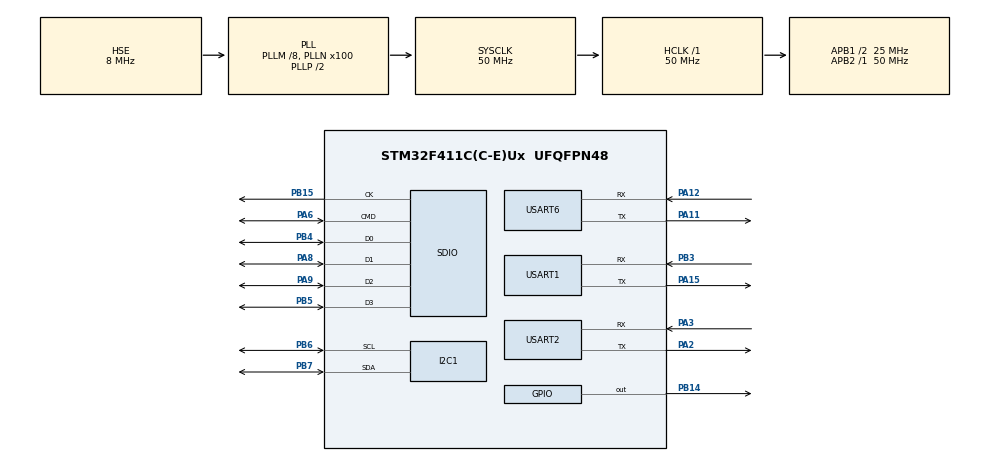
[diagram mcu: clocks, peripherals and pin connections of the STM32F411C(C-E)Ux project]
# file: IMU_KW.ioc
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Dma.Request0=SDIO_RX
Dma.Request1=SDIO_TX
Dma.Request2=USART2_RX
Dma.SDIO_RX.0.Direction=DMA_PERIPH_TO_MEMORY
Dma.SDIO_RX.0.FIFOMode=DMA_FIFOMODE_ENABLE
Dma.SDIO_RX.0.FIFOThreshold=DMA_FIFO_THRESHOLD_FULL
Dma.SDIO_RX.0.Instance=DMA2_Stream3
Dma.SDIO_RX.0.MemBurst=DMA_MBURST_INC4
Dma.SDIO_RX.0.MemDataAlignment=DMA_MDATAALIGN_WORD
Dma.SDIO_RX.0.MemInc=DMA_MINC_ENABLE
Dma.SDIO_RX.0.Mode=DMA_PFCTRL
Dma.SDIO_RX.0.PeriphBurst=DMA_PBURST_INC4
Dma.SDIO_RX.0.PeriphDataAlignment=DMA_PDATAALIGN_WORD
Dma.SDIO_RX.0.PeriphInc=DMA_PINC_DISABLE
Dma.SDIO_RX.0.Priority=DMA_PRIORITY_LOW
Dma.SDIO_TX.1.Direction=DMA_MEMORY_TO_PERIPH
Dma.SDIO_TX.1.FIFOMode=DMA_FIFOMODE_ENABLE
Dma.SDIO_TX.1.FIFOThreshold=DMA_FIFO_THRESHOLD_FULL
Dma.SDIO_TX.1.Instance=DMA2_Stream6
Dma.SDIO_TX.1.MemBurst=DMA_MBURST_INC4
Dma.SDIO_TX.1.MemDataAlignment=DMA_MDATAALIGN_WORD
Dma.SDIO_TX.1.MemInc=DMA_MINC_ENABLE
Dma.SDIO_TX.1.Mode=DMA_PFCTRL
Dma.SDIO_TX.1.PeriphBurst=DMA_PBURST_INC4
Dma.SDIO_TX.1.PeriphDataAlignment=DMA_PDATAALIGN_WORD
Dma.SDIO_TX.1.PeriphInc=DMA_PINC_DISABLE
Dma.SDIO_TX.1.Priority=DMA_PRIORITY_LOW
Dma.USART2_RX.2.Direction=DMA_PERIPH_TO_MEMORY
Dma.USART2_RX.2.FIFOMode=DMA_FIFOMODE_DISABLE
Dma.USART2_RX.2.Instance=DMA1_Stream5
Dma.USART2_RX.2.MemDataAlignment=DMA_MDATAALIGN_BYTE
Dma.USART2_RX.2.MemInc=DMA_MINC_ENABLE
Dma.USART2_RX.2.Mode=DMA_CIRCULAR
Dma.USART2_RX.2.PeriphDataAlignment=DMA_PDATAALIGN_BYTE
Dma.USART2_RX.2.PeriphInc=DMA_PINC_DISABLE
Dma.USART2_RX.2.Priority=DMA_PRIORITY_LOW
FATFS._MAX_SS=4096
FREERTOS.Tasks01=defaultTask,0,128,StartDefaultTask,Default,NULL
FREERTOS.configTICK_RATE_HZ=1000
Mcu.Family=STM32F4
Mcu.Name=STM32F411C(C-E)Ux
Mcu.Package=UFQFPN48
NVIC.DMA1_Stream5_IRQn=true\:0\:0\:false\:false\:true\:true\:false\:true
NVIC.DMA2_Stream3_IRQn=true\:0\:0\:false\:false\:true\:true\:false\:true
NVIC.DMA2_Stream6_IRQn=true\:0\:0\:false\:false\:true\:true\:false\:true
NVIC.PriorityGroup=NVIC_PRIORITYGROUP_4
NVIC.SDIO_IRQn=true\:0\:0\:false\:false\:true\:true\:true\:true
NVIC.TIM4_IRQn=true\:0\:0\:false\:false\:true\:true\:true\:true
NVIC.TIM5_IRQn=true\:0\:0\:false\:false\:true\:false\:false\:true
NVIC.TimeBase=TIM5_IRQn
NVIC.TimeBaseIP=TIM5
NVIC.USART1_IRQn=true\:0\:0\:false\:false\:true\:true\:true\:true
NVIC.USART2_IRQn=true\:0\:0\:false\:false\:true\:true\:true\:true
PA11.Mode=Asynchronous
PA11.Signal=USART6_TX
PA12.Mode=Asynchronous
PA12.Signal=USART6_RX
PA13.Signal=SYS_JTMS-SWDIO
PA14.Signal=SYS_JTCK-SWCLK
PA15.Mode=Asynchronous
PA15.Signal=USART1_TX
PA2.Mode=Asynchronous
PA2.Signal=USART2_TX
PA3.Mode=Asynchronous
PA3.Signal=USART2_RX
PA6.GPIO_PuPd=GPIO_PULLUP
PA6.Mode=SD_4_bits_Wide_bus
PA6.Signal=SDIO_CMD
PA8.GPIO_PuPd=GPIO_PULLUP
PA8.Mode=SD_4_bits_Wide_bus
PA8.Signal=SDIO_D1
PA9.GPIO_PuPd=GPIO_PULLUP
PA9.Mode=SD_4_bits_Wide_bus
PA9.Signal=SDIO_D2
PB14.Signal=GPIO_Output
PB15.Mode=SD_4_bits_Wide_bus
PB15.Signal=SDIO_CK
PB3.Mode=Asynchronous
PB3.Signal=USART1_RX
PB4.GPIO_PuPd=GPIO_PULLUP
PB4.Mode=SD_4_bits_Wide_bus
PB4.Signal=SDIO_D0
PB5.GPIO_PuPd=GPIO_PULLUP
PB5.Mode=SD_4_bits_Wide_bus
PB5.Signal=SDIO_D3
PB6.Mode=I2C
PB6.Signal=I2C1_SCL
PB7.Mode=I2C
PB7.Signal=I2C1_SDA
PH0\ -\ OSC_IN.Mode=HSE-External-Oscillator
PH0\ -\ OSC_IN.Signal=RCC_OSC_IN
PH1\ -\ OSC_OUT.Mode=HSE-External-Oscillator
PH1\ -\ OSC_OUT.Signal=RCC_OSC_OUT
ProjectManager.HeapSize=0x2000
ProjectManager.StackSize=0x4000
ProjectManager.TargetToolchain=MDK-ARM V5
RCC.48MHZClocksFreq_Value=20000000
RCC.AHBFreq_Value=50000000
RCC.APB1CLKDivider=RCC_HCLK_DIV2
RCC.APB1Freq_Value=25000000
RCC.APB1TimFreq_Value=50000000
RCC.APB2Freq_Value=50000000
RCC.APB2TimFreq_Value=50000000
RCC.CortexFreq_Value=50000000
RCC.HCLKFreq_Value=50000000
RCC.HSE_VALUE=8000000
RCC.HSI_VALUE=16000000
RCC.LSE_VALUE=32768
RCC.PLLM=8
RCC.PLLN=100
RCC.PLLQ=5
RCC.PLLSourceVirtual=RCC_PLLSOURCE_HSE
RCC.SYSCLKFreq_VALUE=50000000
RCC.SYSCLKSource=RCC_SYSCLKSOURCE_PLLCLK
RCC.VCOOutputFreq_Value=100000000
SDIO.ClockDiv=3
TIM4.Period=10-1
TIM4.Prescaler=5000-1
TIM4.TIM_MasterOutputTrigger=TIM_TRGO_RESET
USART1.VirtualMode=VM_ASYNC
USART2.VirtualMode=VM_ASYNC
USART6.VirtualMode=VM_ASYNC
VP_CRC_VS_CRC.Mode=CRC_Activate
VP_FATFS_VS_SDIO.Mode=SDIO
VP_FREERTOS_VS_CMSIS_V1.Mode=CMSIS_V1
VP_SYS_VS_tim5.Mode=TIM5
VP_TIM4_VS_ClockSourceINT.Mode=Internal
board=custom

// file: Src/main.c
/* USER CODE BEGIN Header */
/**
  ******************************************************************************
  * @file           : main.c
  * @brief          : Main program body
  ******************************************************************************
  * @attention
  *
  * <h2><center>&copy; Copyright (c) 2020 STMicroelectronics.
  * All rights reserved.</center></h2>
  *
  * This software component is licensed by ST under Ultimate Liberty license
  * SLA0044, the "License"; You may not use this file except in compliance with
  * the License. You may obtain a copy of the License at:
  *                             www.st.com/SLA0044
  *
  ******************************************************************************
  */
/* USER CODE END Header */
#include "main.h"
#include "cmsis_os.h"
#include "fatfs.h"

/* USER CODE BEGIN Includes */
#include <stdio.h>
#include <string.h>
#include <stdbool.h>
/* USER CODE END Includes */

/* USER CODE BEGIN PD */
//define : MPU9250
#define MPU9250_ADDRESS	 0xD2
#define AK8963_ADDRESS   0x0C<<1
#define AK8963_ST1       0x02  // data ready status bit 0
#define AK8963_XOUT_L    0x03  // data
#define ACCEL_XOUT_H     0x3B
#define GYRO_XOUT_H      0x43
#define AK8963_CNTL      0x0A  // Power down (0000), single-measurement (0001), self-test (1000) and Fuse ROM (1111) modes on bits 3:0
#define ACCEL_CONFIG     0x1C
#define CONFIG           0x1A
#define INT_PIN_CFG      0x37
#define INT_ENABLE       0x38
#define ACCEL_CONFIG2    0x1D
#define GYRO_CONFIG      0x1B
#define SMPLRT_DIV       0x19
#define PWR_MGMT_1       0x6B // Device defaults to the SLEEP mode
#define PWR_MGMT_2       0x6C
#define AK8963_ASAX      0x10  // Fuse ROM x-axis sensitivity adjustment value
enum Ascale {
  AFS_2G = 0,
  AFS_4G,
  AFS_8G,
  AFS_16G
};
enum Gscale {
  GFS_250DPS = 0,
  GFS_500DPS,
  GFS_1000DPS,
  GFS_2000DPS
};

enum Mscale {
  MFS_14BITS = 0, // 0.6 mG per LSB
  MFS_16BITS      // 0.15 mG per LSB
};

uint8_t Ascale = AFS_2G;     // AFS_2G, AFS_4G, AFS_8G, AFS_16G
uint8_t Gscale = GFS_250DPS; // GFS_250DPS, GFS_500DPS, GFS_1000DPS, GFS_2000DPS
uint8_t Mscale = MFS_16BITS; // MFS_14BITS or MFS_16BITS, 14-bit or 16-bit magnetometer resolution
uint8_t Mmode = 0x06;        // Either 8 Hz 0x02) or 100 Hz (0x06) magnetometer data ODR
float aRes, gRes, mRes;      // scale resolutions per LSB for the sensors

/* USER CODE END PD */

CRC_HandleTypeDef hcrc;

I2C_HandleTypeDef hi2c1;

SD_HandleTypeDef hsd;
DMA_HandleTypeDef hdma_sdio_rx;
DMA_HandleTypeDef hdma_sdio_tx;

TIM_HandleTypeDef htim4;

UART_HandleTypeDef huart1;
UART_HandleTypeDef huart2;
UART_HandleTypeDef huart6;
DMA_HandleTypeDef hdma_usart2_rx;

osThreadId defaultTaskHandle;

void SystemClock_Config(void);
static void MX_GPIO_Init(void);
static void MX_DMA_Init(void);
static void MX_USART1_UART_Init(void);
static void MX_USART2_UART_Init(void);
static void MX_SDIO_SD_Init(void);
static void MX_TIM4_Init(void);
static void MX_USART6_UART_Init(void);
static void MX_CRC_Init(void);
static void MX_I2C1_Init(void);
void StartDefaultTask(void const * argument);

/* USER CODE BEGIN 0 */
	void initMPU9250(void);
	void initAK8963(void);
	// watchdog
	uint8_t wdg_cnt = 0;
	// I2C and IMU
	int8_t acc_[6] = {0,};
	int8_t gy_[6] = {0,};
	int8_t mag_[6] = {0,};;

	//recieved data
	uint16_t receive_val;
	uint16_t cal_val;

	// Communication
	bool received_flag = false;
	uint8_t txdata[70]; // transmit data to pc
	uint8_t rxBuf[50];
	uint8_t rxBuf_[50];
	uint8_t rxBuf_crc[50];
	uint8_t rxBuf_sd[9];

	uint8_t i2cBuf[7];
	uint8_t Imu_dataBuf[18] = {0,};\
	uint8_t buff_index = 0;

	bool data_received_dma = true;

	//crc
	uint32_t crcArray[12] = {0,};
	uint32_t crcArray_send[16] = {0,};
	uint16_t crcval = 0;

	//SD card variables
	extern char SDPath[4];   /* SD logical drive path */
	extern FATFS SDFatFS;    /* File system object for SD logical drive */
	extern FIL SDFile;       /* File object for SD */

	bool sdcard_save = false;
	bool sdcard_save_check = true;
	bool sdcard_save_ongoing = false;
	//FILE I/O operation

	FRESULT res;                                          /* FatFs function common result code */
	uint32_t byteswritten, bytesread;                     /* File write/read counts */
	uint8_t wtext[] = "Hello from kyeum!"; 			      /* File write start buffer */
	uint8_t rtext[100];                                   /* File read buffer */

	FATFS myFATAS;
	FIL myFILE;
	UINT testByte; 										  // error detection

	//data save
	bool datasave_flg = false;

	//Timer
	uint16_t ms_tmr = 0;
	uint16_t _10ms_tmr = 0;
	uint16_t send_10ms_tmr = 0;

	uint16_t ms_sv_tmr = 0;
	bool _100ms_flg = false;
	bool _10ms_flg = false;
	bool dma_connect = false;

	uint16_t test_val = 0;
	char str_testset[10];

/* USER CODE END 0 */

int main(void)
{

  /* MCU Configuration--------------------------------------------------------*/

  /* Reset of all peripherals, Initializes the Flash interface and the Systick. */
  HAL_Init();

  /* Configure the system clock */
  SystemClock_Config();

  /* Initialize all configured peripherals */
  MX_GPIO_Init();
  MX_DMA_Init();
  MX_USART1_UART_Init();
  MX_USART2_UART_Init();
  MX_SDIO_SD_Init();
  MX_TIM4_Init();
  MX_USART6_UART_Init();
  MX_FATFS_Init();
  MX_CRC_Init();
  MX_I2C1_Init();
  /* USER CODE BEGIN 2 */
	HAL_UART_Receive_DMA(&huart2, (uint8_t *)rxBuf_crc, 50); //interrupt mode only in the mcu data
	HAL_UART_Receive_IT(&huart1, (uint8_t *)rxBuf_sd, 9);
	HAL_TIM_Base_Start_IT(&htim4);

	initMPU9250();
	initAK8963();

  /* USER CODE END 2 */

  /* Create the thread(s) */
  /* definition and creation of defaultTask */
  osThreadDef(defaultTask, StartDefaultTask, osPriorityNormal, 0, 128);
  defaultTaskHandle = osThreadCreate(osThread(defaultTask), NULL);

  /* Start scheduler */
  osKernelStart();

  /* We should never get here as control is now taken by the scheduler */
  /* Infinite loop */
  while (1)
  {

  }
}

void SystemClock_Config(void)
{
  RCC_OscInitTypeDef RCC_OscInitStruct = {0};
  RCC_ClkInitTypeDef RCC_ClkInitStruct = {0};

  /** Configure the main internal regulator output voltage
  */
  __HAL_RCC_PWR_CLK_ENABLE();
  __HAL_PWR_VOLTAGESCALING_CONFIG(PWR_REGULATOR_VOLTAGE_SCALE1);
  /** Initializes the RCC Oscillators according to the specified parameters
  * in the RCC_OscInitTypeDef structure.
  */
  RCC_OscInitStruct.OscillatorType = RCC_OSCILLATORTYPE_HSE;
  RCC_OscInitStruct.HSEState = RCC_HSE_ON;
  RCC_OscInitStruct.PLL.PLLState = RCC_PLL_ON;
  RCC_OscInitStruct.PLL.PLLSource = RCC_PLLSOURCE_HSE;
  RCC_OscInitStruct.PLL.PLLM = 8;
  RCC_OscInitStruct.PLL.PLLN = 100;
  RCC_OscInitStruct.PLL.PLLP = RCC_PLLP_DIV2;
  RCC_OscInitStruct.PLL.PLLQ = 5;
  if (HAL_RCC_OscConfig(&RCC_OscInitStruct) != HAL_OK)
  {
    Error_Handler();
  }
  /** Initializes the CPU, AHB and APB buses clocks
  */
  RCC_ClkInitStruct.ClockType = RCC_CLOCKTYPE_HCLK|RCC_CLOCKTYPE_SYSCLK
                              |RCC_CLOCKTYPE_PCLK1|RCC_CLOCKTYPE_PCLK2;
  RCC_ClkInitStruct.SYSCLKSource = RCC_SYSCLKSOURCE_PLLCLK;
  RCC_ClkInitStruct.AHBCLKDivider = RCC_SYSCLK_DIV1;
  RCC_ClkInitStruct.APB1CLKDivider = RCC_HCLK_DIV2;
  RCC_ClkInitStruct.APB2CLKDivider = RCC_HCLK_DIV1;

  if (HAL_RCC_ClockConfig(&RCC_ClkInitStruct, FLASH_LATENCY_1) != HAL_OK)
  {
    Error_Handler();
  }
}

static void MX_CRC_Init(void)
{

  hcrc.Instance = CRC;
  if (HAL_CRC_Init(&hcrc) != HAL_OK)
  {
    Error_Handler();
  }

}

static void MX_I2C1_Init(void)
{

  hi2c1.Instance = I2C1;
  hi2c1.Init.ClockSpeed = 100000;
  hi2c1.Init.DutyCycle = I2C_DUTYCYCLE_2;
  hi2c1.Init.OwnAddress1 = 0;
  hi2c1.Init.AddressingMode = I2C_ADDRESSINGMODE_7BIT;
  hi2c1.Init.DualAddressMode = I2C_DUALADDRESS_DISABLE;
  hi2c1.Init.OwnAddress2 = 0;
  hi2c1.Init.GeneralCallMode = I2C_GENERALCALL_DISABLE;
  hi2c1.Init.NoStretchMode = I2C_NOSTRETCH_DISABLE;
  if (HAL_I2C_Init(&hi2c1) != HAL_OK)
  {
    Error_Handler();
  }

}

static void MX_SDIO_SD_Init(void)
{

  hsd.Instance = SDIO;
  hsd.Init.ClockEdge = SDIO_CLOCK_EDGE_RISING;
  hsd.Init.ClockBypass = SDIO_CLOCK_BYPASS_DISABLE;
  hsd.Init.ClockPowerSave = SDIO_CLOCK_POWER_SAVE_DISABLE;
  hsd.Init.BusWide = SDIO_BUS_WIDE_1B;
  hsd.Init.HardwareFlowControl = SDIO_HARDWARE_FLOW_CONTROL_DISABLE;
  hsd.Init.ClockDiv = 3;

}

static void MX_TIM4_Init(void)
{

  TIM_ClockConfigTypeDef sClockSourceConfig = {0};
  TIM_MasterConfigTypeDef sMasterConfig = {0};

  htim4.Instance = TIM4;
  htim4.Init.Prescaler = 5000-1;
  htim4.Init.CounterMode = TIM_COUNTERMODE_UP;
  htim4.Init.Period = 10-1;
  htim4.Init.ClockDivision = TIM_CLOCKDIVISION_DIV1;
  htim4.Init.AutoReloadPreload = TIM_AUTORELOAD_PRELOAD_DISABLE;
  if (HAL_TIM_Base_Init(&htim4) != HAL_OK)
  {
    Error_Handler();
  }
  sClockSourceConfig.ClockSource = TIM_CLOCKSOURCE_INTERNAL;
  if (HAL_TIM_ConfigClockSource(&htim4, &sClockSourceConfig) != HAL_OK)
  {
    Error_Handler();
  }
  sMasterConfig.MasterOutputTrigger = TIM_TRGO_RESET;
  sMasterConfig.MasterSlaveMode = TIM_MASTERSLAVEMODE_DISABLE;
  if (HAL_TIMEx_MasterConfigSynchronization(&htim4, &sMasterConfig) != HAL_OK)
  {
    Error_Handler();
  }

}

static void MX_USART1_UART_Init(void)
{

  huart1.Instance = USART1;
  huart1.Init.BaudRate = 115200;
  huart1.Init.WordLength = UART_WORDLENGTH_8B;
  huart1.Init.StopBits = UART_STOPBITS_1;
  huart1.Init.Parity = UART_PARITY_NONE;
  huart1.Init.Mode = UART_MODE_TX_RX;
  huart1.Init.HwFlowCtl = UART_HWCONTROL_NONE;
  huart1.Init.OverSampling = UART_OVERSAMPLING_16;
  if (HAL_UART_Init(&huart1) != HAL_OK)
  {
    Error_Handler();
  }

}

static void MX_USART2_UART_Init(void)
{

  huart2.Instance = USART2;
  huart2.Init.BaudRate = 115200;
  huart2.Init.WordLength = UART_WORDLENGTH_8B;
  huart2.Init.StopBits = UART_STOPBITS_1;
  huart2.Init.Parity = UART_PARITY_NONE;
  huart2.Init.Mode = UART_MODE_TX_RX;
  huart2.Init.HwFlowCtl = UART_HWCONTROL_NONE;
  huart2.Init.OverSampling = UART_OVERSAMPLING_16;
  if (HAL_UART_Init(&huart2) != HAL_OK)
  {
    Error_Handler();
  }

}

static void MX_USART6_UART_Init(void)
{

  huart6.Instance = USART6;
  huart6.Init.BaudRate = 115200;
  huart6.Init.WordLength = UART_WORDLENGTH_8B;
  huart6.Init.StopBits = UART_STOPBITS_1;
  huart6.Init.Parity = UART_PARITY_NONE;
  huart6.Init.Mode = UART_MODE_TX_RX;
  huart6.Init.HwFlowCtl = UART_HWCONTROL_NONE;
  huart6.Init.OverSampling = UART_OVERSAMPLING_16;
  if (HAL_UART_Init(&huart6) != HAL_OK)
  {
    Error_Handler();
  }

}

static void MX_DMA_Init(void)
{

  /* DMA controller clock enable */
  __HAL_RCC_DMA2_CLK_ENABLE();
  __HAL_RCC_DMA1_CLK_ENABLE();

  /* DMA interrupt init */
  /* DMA1_Stream5_IRQn interrupt configuration */
  HAL_NVIC_SetPriority(DMA1_Stream5_IRQn, 0, 0);
  HAL_NVIC_EnableIRQ(DMA1_Stream5_IRQn);
  /* DMA2_Stream3_IRQn interrupt configuration */
  HAL_NVIC_SetPriority(DMA2_Stream3_IRQn, 0, 0);
  HAL_NVIC_EnableIRQ(DMA2_Stream3_IRQn);
  /* DMA2_Stream6_IRQn interrupt configuration */
  HAL_NVIC_SetPriority(DMA2_Stream6_IRQn, 0, 0);
  HAL_NVIC_EnableIRQ(DMA2_Stream6_IRQn);

}

static void MX_GPIO_Init(void)
{
  GPIO_InitTypeDef GPIO_InitStruct = {0};

  /* GPIO Ports Clock Enable */
  __HAL_RCC_GPIOH_CLK_ENABLE();
  __HAL_RCC_GPIOA_CLK_ENABLE();
  __HAL_RCC_GPIOB_CLK_ENABLE();

  /*Configure GPIO pin Output Level */
  HAL_GPIO_WritePin(GPIOB, GPIO_PIN_14, GPIO_PIN_RESET);

  /*Configure GPIO pin : PB14 */
  GPIO_InitStruct.Pin = GPIO_PIN_14;
  GPIO_InitStruct.Mode = GPIO_MODE_OUTPUT_PP;
  GPIO_InitStruct.Pull = GPIO_NOPULL;
  GPIO_InitStruct.Speed = GPIO_SPEED_FREQ_LOW;
  HAL_GPIO_Init(GPIOB, &GPIO_InitStruct);

}

/* USER CODE BEGIN 4 */

void writeByte(uint8_t address, uint8_t subAddress, uint8_t data)
{
   uint8_t data_write[2];
   data_write[0] = subAddress;
   data_write[1] = data;
   HAL_I2C_Master_Transmit(&hi2c1, address, data_write, 2, 10);
}
char readByte(uint8_t address, uint8_t subAddress)
{
    uint8_t data[1]; // `data` will store the register data
    uint8_t data_write[1];
    data_write[0] = subAddress;
	HAL_I2C_Master_Transmit(&hi2c1, address, data_write, 1, 10);
	HAL_I2C_Master_Receive(&hi2c1, address, data, 1, 10); // Data receive sequencing from i2cBuf[1]
    return data[0];
}
void readBytes(uint8_t address, uint8_t subAddress, uint8_t count, uint8_t * dest)
{
    uint8_t data[14];
    uint8_t data_write[1];
    data_write[0] = subAddress;
	HAL_I2C_Master_Transmit(&hi2c1, address, data_write, 1, 10);
	HAL_I2C_Master_Receive(&hi2c1, address, data, count, 10); // Data receive sequencing from i2cBuf[1]
    for(int ii = 0; ii < count; ii++) {
     dest[ii] = data[ii];
    }
}

void readAccelData(int8_t * destination)
{
  uint8_t rawData[6];  // x/y/z accel register data stored here
  uint8_t data_write[1];
  data_write[0] = ACCEL_XOUT_H;
  HAL_I2C_Master_Transmit(&hi2c1, MPU9250_ADDRESS, data_write, 1,10);
  HAL_I2C_Master_Receive(&hi2c1, MPU9250_ADDRESS, rawData, 6, 10); // Data receive sequencing from i2cBuf[1]

  memcpy(&destination[0], &rawData[0],6);
}

void readGyroData(int8_t * destination)
{

  uint8_t rawData[6];  // x/y/z accel register data stored here
  uint8_t data_write[1];
  data_write[0] = GYRO_XOUT_H;
  HAL_I2C_Master_Transmit(&hi2c1, MPU9250_ADDRESS, data_write, 1,10);
  HAL_I2C_Master_Receive(&hi2c1, MPU9250_ADDRESS, rawData, 6, 10); // Data receive sequencing from i2cBuf[1]
  memcpy(&destination[0], &rawData[0],6);

}

void  readMagData(int8_t * destination)
{
  uint8_t rawData[7];  // x/y/z gyro register data, ST2 register stored here, must read ST2 at end of data acquisition
  if(readByte(AK8963_ADDRESS, AK8963_ST1) & 0x01) { // wait for magnetometer data ready bit to be set
	 uint8_t data_write[1];
	data_write[0] = AK8963_XOUT_L;
	HAL_I2C_Master_Transmit(&hi2c1, AK8963_ADDRESS, data_write, 1,10);
	HAL_I2C_Master_Receive(&hi2c1, AK8963_ADDRESS, rawData, 7, 10); // Data receive sequencing from i2cBuf[1]
	uint8_t c = rawData[6]; // End data read by reading ST2 register
    if(!(c & 0x08)) { // Check if magnetic sensor overflow set, if not then report data
		memcpy(&destination[0], &rawData[0],6);
   }
  }
}

 void initAK8963()
{
  // First extract the factory calibration for each magnetometer axis
  uint8_t rawData[3];  // x/y/z gyro calibration data stored here
  writeByte(AK8963_ADDRESS, AK8963_CNTL, 0x00); // Power down magnetometer
  HAL_Delay(100);
  writeByte(AK8963_ADDRESS, AK8963_CNTL, 0x0F); // Enter Fuse ROM access mode
  HAL_Delay(100);
//  readBytes(AK8963_ADDRESS, AK8963_ASAX, 3, &rawData[0]);  // Read the x-, y-, and z-axis calibration values
//  destination[0] =  (float)(rawData[0] - 128)/256.0f + 1.0f;   // Return x-axis sensitivity adjustment values, etc.
//  destination[1] =  (float)(rawData[1] - 128)/256.0f + 1.0f;
//  destination[2] =  (float)(rawData[2] - 128)/256.0f + 1.0f;
  writeByte(AK8963_ADDRESS, AK8963_CNTL, 0x00); // Power down magnetometer
  HAL_Delay(100);
  // Configure the magnetometer for continuous read and highest resolution
  // set Mscale bit 4 to 1 (0) to enable 16 (14) bit resolution in CNTL register,
  // and enable continuous mode data acquisition Mmode (bits [3:0]), 0010 for 8 Hz and 0110 for 100 Hz sample rates
  writeByte(AK8963_ADDRESS, AK8963_CNTL, Mscale << 4 | Mmode); // Set magnetometer data resolution and sample ODR
  HAL_Delay(100);
}

void initMPU9250()
{
// Initialize MPU9250 device
 // wake up device
  writeByte(MPU9250_ADDRESS, PWR_MGMT_1, 0x00); // Clear sleep mode bit (6), enable all sensors
  HAL_Delay(100); // Delay 100 ms for PLL to get established on x-axis gyro; should check for PLL ready interrupt

 // get stable time source
  writeByte(MPU9250_ADDRESS, PWR_MGMT_1, 0x01);  // Set clock source to be PLL with x-axis gyroscope reference, bits 2:0 = 001
  HAL_Delay(100); // Delay 100 ms for PLL to get established on x-axis gyro; should check for PLL ready interrupt

 // Configure Gyro and Accelerometer
 // Disable FSYNC and set accelerometer and gyro bandwidth to 44 and 42 Hz, respectively;
 // DLPF_CFG = bits 2:0 = 010; this sets the sample rate at 1 kHz for both
 // Maximum delay is 4.9 ms which is just over a 200 Hz maximum rate
  writeByte(MPU9250_ADDRESS, CONFIG, 0x03);
   HAL_Delay(100); // Delay 100 ms for PLL to get established on x-axis gyro; should check for PLL ready interrupt

 // Set sample rate = gyroscope output rate/(1 + SMPLRT_DIV)
  writeByte(MPU9250_ADDRESS, SMPLRT_DIV, 0x04);  // Use a 200 Hz rate; the same rate set in CONFIG above
   HAL_Delay(100); // Delay 100 ms for PLL to get established on x-axis gyro; should check for PLL ready interrupt

 // Set gyroscope full scale range
 // Range selects FS_SEL and AFS_SEL are 0 - 3, so 2-bit values are left-shifted into positions 4:3
  uint8_t c = readByte(MPU9250_ADDRESS, GYRO_CONFIG); // get current GYRO_CONFIG register value
    HAL_Delay(100); // Delay 100 ms for PLL to get established on x-axis gyro; should check for PLL ready interrupt

 // c = c & ~0xE0; // Clear self-test bits [7:5]
  c = c & ~0x02; // Clear Fchoice bits [1:0]
  c = c & ~0x18; // Clear AFS bits [4:3]
  c = c | Gscale << 3; // Set full scale range for the gyro
 // c =| 0x00; // Set Fchoice for the gyro to 11 by writing its inverse to bits 1:0 of GYRO_CONFIG
  writeByte(MPU9250_ADDRESS, GYRO_CONFIG, c ); // Write new GYRO_CONFIG value to register
    HAL_Delay(100); // Delay 100 ms for PLL to get established on x-axis gyro; should check for PLL ready interrupt

 // Set accelerometer full-scale range configuration
  c = readByte(MPU9250_ADDRESS, ACCEL_CONFIG); // get current ACCEL_CONFIG register value
 // c = c & ~0xE0; // Clear self-test bits [7:5]
  c = c & ~0x18;  // Clear AFS bits [4:3]
  c = c | Ascale << 3; // Set full scale range for the accelerometer
    HAL_Delay(100); // Delay 100 ms for PLL to get established on x-axis gyro; should check for PLL ready interrupt

  writeByte(MPU9250_ADDRESS, ACCEL_CONFIG, c); // Write new ACCEL_CONFIG register value
  HAL_Delay(100); // Delay 100 ms for PLL to get established on x-axis gyro; should check for PLL ready interrupt

 // Set accelerometer sample rate configuration
 // It is possible to get a 4 kHz sample rate from the accelerometer by choosing 1 for
 // accel_fchoice_b bit [3]; in this case the bandwidth is 1.13 kHz
  c = readByte(MPU9250_ADDRESS, ACCEL_CONFIG2); // get current ACCEL_CONFIG2 register value
  c = c & ~0x0F; // Clear accel_fchoice_b (bit 3) and A_DLPFG (bits [2:0])
  c = c | 0x03;  // Set accelerometer rate to 1 kHz and bandwidth to 41 Hz
  writeByte(MPU9250_ADDRESS, ACCEL_CONFIG2, c); // Write new ACCEL_CONFIG2 register value
  HAL_Delay(100); // Delay 100 ms for PLL to get established on x-axis gyro; should check for PLL ready interrupt

 // The accelerometer, gyro, and thermometer are set to 1 kHz sample rates,
 // but all these rates are further reduced by a factor of 5 to 200 Hz because of the SMPLRT_DIV setting

  // Configure Interrupts and Bypass Enable
  // Set interrupt pin active high, push-pull, and clear on read of INT_STATUS, enable I2C_BYPASS_EN so additional chips
  // can join the I2C bus and all can be controlled as master
   writeByte(MPU9250_ADDRESS, INT_PIN_CFG, 0x22);
     HAL_Delay(100); // Delay 100 ms for PLL to get established on x-axis gyro; should check for PLL ready interrupt

   writeByte(MPU9250_ADDRESS, INT_ENABLE, 0x01);  // Enable data ready (bit 0) interrupt
     HAL_Delay(100); // Delay 100 ms for PLL to get established on x-axis gyro; should check for PLL ready interrupt
}

 void HAL_UART_RxCpltCallback(UART_HandleTypeDef *huart)
{
  /* Prevent unused argument(s) compilation warning */
  /* NOTE: This function should not be modified, when the callback is needed,
           the HAL_UART_RxCpltCallback could be implemented in the user file
   */
	// data pacing and save buff to transmit array
	if(huart->Instance == USART2){
				if(rxBuf_crc[0] == 0xFF && rxBuf_crc[1] == 0xFF){
					received_flag = true;
					dma_connect = true;
					memcpy(&rxBuf_[0], &rxBuf_crc[0], 50 );
				}
				else
				{
					received_flag = false;
					HAL_DMA_Abort(&hdma_usart2_rx);
				}
				test_val++;
	}
//	if(huart->Instance == USART1){
//		// comm data set mininig!
//		uint8_t rxBuf_sd_p[9];

//		char rxlen = sizeof(rxBuf_sd);
//		for(char i =0; i < rxlen; i++)
//		{
//			char stx = i;
//			char etx = (i + rxlen - 1)%rxlen;
//			if(rxBuf_sd[stx] == '*' && rxBuf_sd[(etx)] == ';')
//			{
//					for(char j =0; j < rxlen; j++){
//						char k = (stx + j)%rxlen;
//						rxBuf_sd_p[j] = rxBuf_sd[k]; // data parse AND SAVE CUR
//					}
//				break;
//			}
//			}

//		if(rxBuf_sd_p[0] == '*' && rxBuf_sd_p[8] ==';'){
//			if(rxBuf_sd_p[1] == 's'){
//					char _txt[] = ".txt";
//					strncpy(str_testset, (const char*)rxBuf_sd+2,6);
//					strcat(str_testset,_txt);
//				//	sdcard_save = true;
//
//					HAL_UART_Transmit_IT(&huart2,rxBuf_sd_p,9); // data send to other bluetooth!
//
//			}
//			else if(rxBuf_sd_p[1] == 'e'){
//					HAL_GPIO_TogglePin(GPIOB, GPIO_PIN_14);
//				//	sdcard_save = false;
//			}
//		}
//	else{
//			memset(rxBuf_sd,0,sizeof(uint8_t)*9);
//		}
//	HAL_UART_Receive_IT(&huart1, (uint8_t *)rxBuf_sd, 9);
//	}
}

void wdg_activate(){
	HAL_NVIC_SystemReset();
}

/* USER CODE END 4 */

void StartDefaultTask(void const * argument)
{
  /* USER CODE BEGIN 5 */
//		f_mount(&SDFatFS, (TCHAR const*)SDPath, 1);
//
//		if(f_open(&SDFile, "test32.txt" , FA_CREATE_ALWAYS | FA_WRITE )== FR_OK){
//		}
//		f_printf(&SDFile, "%02x", 17);
//		f_close(&SDFile);

	  for(;;)
	  {
//		if(sdcard_save){
//				if(sdcard_save_check){
//					//HAL_GPIO_TogglePin(GPIOB, GPIO_PIN_14);
//					sdcard_save_check = false;
//					if(f_open(&SDFile, str_testset , FA_CREATE_ALWAYS | FA_WRITE ) == FR_OK){
//					sdcard_save_ongoing = true;
//					//HAL_GPIO_TogglePin(GPIOB, GPIO_PIN_14);
//					}
//				}
//			}
//		else{
//			if(!sdcard_save_check) {
//				f_close(&SDFile);
//				sdcard_save_check = true;
//				sdcard_save_ongoing = false;
//			}
//		}

		if(_10ms_flg){
		_10ms_flg = false;

		txdata[0] = 0xFF;
		txdata[1] = 0xFF;
		txdata[2] = send_10ms_tmr >> 8;
		txdata[3] = send_10ms_tmr & 0xff;

		if(received_flag) {
			uint8_t cprxBuf[50];
			memcpy(&cprxBuf[0], &rxBuf_[0], sizeof(uint8_t)*50);
			received_flag = false;
			memset(crcArray,0,12*sizeof(crcArray[0]));
			memmove(&crcArray[0], &cprxBuf[2], sizeof(uint8_t)*44);
			char crc_begin = 46; //MLSB 36 = FF 37 = FE 49 48 47 46
			char crc_end = 47;
			receive_val = (int16_t)(((int16_t)cprxBuf[crc_begin] << 8) | cprxBuf[crc_end]);
			cal_val = (HAL_CRC_Calculate(&hcrc,crcArray,11)&0xffff);
			if(cal_val == receive_val)
			{
				memmove(&txdata[4], &cprxBuf[2], sizeof(uint8_t)*44);
			}
			else
			{
				memset(rxBuf_,0,sizeof(uint8_t)*44);
				// set watch dog -> set 0_ rxBuf_
				wdg_cnt ++;
				continue;
			}
		}

		readAccelData(&acc_[0]);
		readMagData(&mag_[0]);
		readGyroData(&gy_[0]);

		memmove(&txdata[48], &acc_[0],6);
		memmove(&txdata[54], &mag_[0],6);
		memmove(&txdata[60], &gy_[0],6);  //54

		memset(crcArray_send,0,16*sizeof(crcArray_send[0])); // reset 70 - 6 = 64

		for(int i =0; i <16; i++)
		{
			char c = 4*i;
			crcArray_send[i] = ((uint32_t)txdata[c+2] << 24) | ((uint32_t)txdata[c+3] << 16) | ((uint32_t)txdata[c+4] << 8) | ((uint32_t)txdata[c+5]);
		}

		crcval = HAL_CRC_Calculate(&hcrc,crcArray_send,16)& 0xffff;

		txdata[66] = crcval >> 8;
		txdata[67] = crcval & 0xff;
		txdata[68] = 0xFF;
		txdata[69] = 0xFE;

		//<*sdcard send--------------------------------------------------------------->//
		/*
		//if(sdcard_save_ongoing){
			for(int i =0; i<15; i++) {
					f_printf(&SDFile, "%02x", 17);
				}
					f_printf(&SDFile, "\n");
		f_close(&SDFile);
		//
		//	}
		*/
		//<*sdcard send--------------------------------------------------------------->//

		HAL_UART_Transmit_IT(&huart1,txdata,70);
	}
  }
  /* USER CODE END 5 */
}

void HAL_TIM_PeriodElapsedCallback(TIM_HandleTypeDef *htim)
{
  if (htim->Instance == TIM5) {
    HAL_IncTick();
  }
  /* USER CODE BEGIN Callback 1 */
  	if(htim ->Instance  == TIM4){
		ms_tmr ++;
		_10ms_tmr++;
		ms_sv_tmr ++;
		if(ms_tmr % 10 == 0){
			_10ms_flg = true;
			ms_tmr = 0;
		}
		if(_10ms_tmr % 10 == 0){
			send_10ms_tmr++;
			_10ms_tmr = 0;
		}

		if(ms_sv_tmr % 100 == 0){ // 10sec later - date
			datasave_flg = false;
		if(!dma_connect) HAL_UART_Receive_DMA(&huart2, (uint8_t *)rxBuf_crc, 50); //interrupt mode only in the mcu data
			ms_sv_tmr = 0;
		}

	// save data 10sec
	}
  /* USER CODE END Callback 1 */
}

void Error_Handler(void)
{
}

/************************ (C) COPYRIGHT STMicroelectronics *****END OF FILE****/
